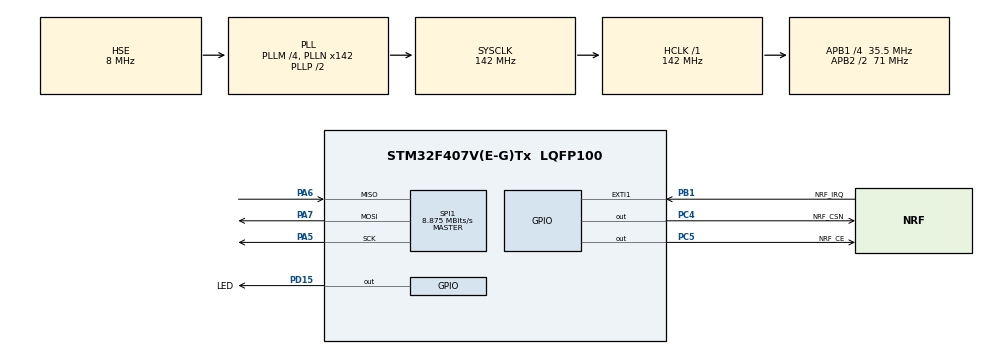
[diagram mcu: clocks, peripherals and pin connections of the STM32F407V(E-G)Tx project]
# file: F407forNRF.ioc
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Mcu.Family=STM32F4
Mcu.Name=STM32F407V(E-G)Tx
Mcu.Package=LQFP100
NVIC.EXTI1_IRQn=true\:0\:0\:false\:false\:true\:true\:true
NVIC.PriorityGroup=NVIC_PRIORITYGROUP_0
PA13.GPIO_Label=SWDIO
PA13.Mode=Serial_Wire
PA13.Signal=SYS_JTMS-SWDIO
PA14.GPIO_Label=SWCLK
PA14.Mode=Serial_Wire
PA14.Signal=SYS_JTCK-SWCLK
PA5.Mode=Full_Duplex_Master
PA5.Signal=SPI1_SCK
PA6.Mode=Full_Duplex_Master
PA6.Signal=SPI1_MISO
PA7.Mode=Full_Duplex_Master
PA7.Signal=SPI1_MOSI
PB1.GPIO_Label=NRF_IRQ
PB1.GPIO_ModeDefaultEXTI=GPIO_MODE_IT_FALLING
PB1.GPIO_PuPd=GPIO_PULLUP
PB1.Signal=GPXTI1
PC4.GPIO_Label=NRF_CSN
PC4.Signal=GPIO_Output
PC5.GPIO_Label=NRF_CE
PC5.Signal=GPIO_Output
PD15.GPIO_Label=LED
PD15.Signal=GPIO_Output
PH0-OSC_IN.GPIO_Label=PH0-OSC_IN
PH0-OSC_IN.Mode=HSE-External-Oscillator
PH0-OSC_IN.Signal=RCC_OSC_IN
PH1-OSC_OUT.GPIO_Label=PH1-OSC_OUT
PH1-OSC_OUT.Mode=HSE-External-Oscillator
PH1-OSC_OUT.Signal=RCC_OSC_OUT
ProjectManager.HeapSize=0x200
ProjectManager.StackSize=0x400
ProjectManager.TargetToolchain=STM32CubeIDE
RCC.48MHZClocksFreq_Value=40571428.571428575
RCC.AHBFreq_Value=142000000
RCC.APB1CLKDivider=RCC_HCLK_DIV4
RCC.APB1Freq_Value=35500000
RCC.APB1TimFreq_Value=71000000
RCC.APB2CLKDivider=RCC_HCLK_DIV2
RCC.APB2Freq_Value=71000000
RCC.APB2TimFreq_Value=142000000
RCC.CortexFreq_Value=142000000
RCC.HCLKFreq_Value=142000000
RCC.HSE_VALUE=8000000
RCC.HSI_VALUE=16000000
RCC.LSE_VALUE=32768
RCC.PLLM=4
RCC.PLLN=142
RCC.PLLQ=7
RCC.PLLSourceVirtual=RCC_PLLSOURCE_HSE
RCC.SYSCLKFreq_VALUE=142000000
RCC.SYSCLKSource=RCC_SYSCLKSOURCE_PLLCLK
RCC.VCOOutputFreq_Value=284000000
SPI1.BaudRatePrescaler=SPI_BAUDRATEPRESCALER_8
SPI1.CalculateBaudRate=8.875 MBits/s
SPI1.Direction=SPI_DIRECTION_2LINES
SPI1.Mode=SPI_MODE_MASTER
SPI1.VirtualType=VM_MASTER
board=STM32F407G-DISC1

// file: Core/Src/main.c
/* USER CODE BEGIN Header */
/**
  ******************************************************************************
  * @file           : main.c
  * @brief          : Main program body
  ******************************************************************************
  * @attention
  *
  * <h2><center>&copy; Copyright (c) 2022 STMicroelectronics.
  * All rights reserved.</center></h2>
  *
  * This software component is licensed by ST under Ultimate Liberty license
  * SLA0044, the "License"; You may not use this file except in compliance with
  * the License. You may obtain a copy of the License at:
  *                             www.st.com/SLA0044
  *
  ******************************************************************************
  */
/* USER CODE END Header */
#include "main.h"

/* USER CODE BEGIN Includes */
#include "string.h"
#include "AESK_NRF24.h"
#include "AESK_Data_Pack_lib.h"
#include "FlightDatas.h"
/* USER CODE END Includes */

/* USER CODE BEGIN PD */
  bool onReceiveFlag = true;

  float yaw;
  float roll;
  float pitch;
  float altitude;
  uint16_t motor1;
  uint16_t motor2;
  uint16_t motor3;
  uint16_t motor4;
  float yawError;
  float rollError;
  float pitchError;
  float altitudeError;
  float latitude_f32;
  float longtitude_f32;

  uint64_t thisNode = 0x11223344AA;
  uint64_t node = 0x11223344BB;

  uint16_t indexTx;

  uint16_t counter = 0;
/* USER CODE END PD */

SPI_HandleTypeDef hspi1;

void SystemClock_Config(void);
static void MX_GPIO_Init(void);
static void MX_SPI1_Init(void);
/* USER CODE BEGIN PFP */
void onReceive(uint8_t * pack, uint16_t len);
void parseBuffer(uint8_t * buffer);
/* USER CODE END PFP */

int main(void)
{

  /* MCU Configuration--------------------------------------------------------*/

  /* Reset of all peripherals, Initializes the Flash interface and the Systick. */
  HAL_Init();

  /* Configure the system clock */
  SystemClock_Config();

  /* Initialize all configured peripherals */
  MX_GPIO_Init();
  MX_SPI1_Init();
  /* USER CODE BEGIN 2 */

  AESK_NRF24_DATA_Init(48, thisNode, &onReceive);
  AESK_NRF24_Init(&hspi1, NRF_CSN_GPIO_Port, NRF_CSN_Pin, NRF_CE_Pin);

  /* USER CODE END 2 */

  /* Infinite loop */
  while (1)
  {

    /* USER CODE BEGIN 3 */

	  if(tt.time_task_t.task_20_Hz == 1 && onReceiveFlag == 1)
	  {
		  counter += 2;
		  indexTx = 2;

		  yaw = counter*255/500;
		  roll = counter*180/500;
		  pitch = counter*180/500;
		  altitude = counter;
		  motor1 = 1000 + counter*700/500;
		  motor2 = 1000 + counter*700/500;
		  motor3 = 1000 + counter*700/500;
		  motor4 = 1000 + counter*700/500;
		  yawError = yaw - 55;
		  rollError = roll - 45;
		  pitchError = pitch - 45;
		  altitudeError = altitude - 3;
		  latitude_f32 = 41.02539 - counter*0.0001;
		  longtitude_f32 = 28.88818 - counter*0.0001;

		  AESK_FLOAT32toUINT8_LE(&yaw,aesk_nrf24_data.TxBuffer,&indexTx);
		  AESK_FLOAT32toUINT8_LE(&roll,aesk_nrf24_data.TxBuffer,&indexTx);
		  AESK_FLOAT32toUINT8_LE(&pitch,aesk_nrf24_data.TxBuffer,&indexTx);
		  AESK_FLOAT32toUINT8_LE(&altitude, aesk_nrf24_data.TxBuffer,&indexTx);

		  AESK_UINT16toUINT8_LE(&motor1,aesk_nrf24_data.TxBuffer ,&indexTx);
		  AESK_UINT16toUINT8_LE(&motor2,aesk_nrf24_data.TxBuffer ,&indexTx);
		  AESK_UINT16toUINT8_LE(&motor3,aesk_nrf24_data.TxBuffer ,&indexTx);
		  AESK_UINT16toUINT8_LE(&motor4,aesk_nrf24_data.TxBuffer ,&indexTx);

		  AESK_FLOAT32toUINT8_LE(&yawError,aesk_nrf24_data.TxBuffer ,&indexTx);
		  AESK_FLOAT32toUINT8_LE(&rollError,aesk_nrf24_data.TxBuffer ,&indexTx);
		  AESK_FLOAT32toUINT8_LE(&pitchError,aesk_nrf24_data.TxBuffer ,&indexTx);
		  AESK_FLOAT32toUINT8_LE(&altitudeError,aesk_nrf24_data.TxBuffer ,&indexTx);

		  AESK_FLOAT32toUINT8_LE(&latitude_f32,aesk_nrf24_data.TxBuffer ,&indexTx);
		  AESK_FLOAT32toUINT8_LE(&longtitude_f32,aesk_nrf24_data.TxBuffer ,&indexTx);

		  AESK_UINT16toUINT8_LE(&aesk_Rx_Datas_Int.adc1,aesk_nrf24_data.TxBuffer,&indexTx);
		  AESK_UINT16toUINT8_LE(&aesk_Rx_Datas_Int.adc2,aesk_nrf24_data.TxBuffer,&indexTx);
		  AESK_UINT16toUINT8_LE(&aesk_Rx_Datas_Int.adc3,aesk_nrf24_data.TxBuffer,&indexTx);
		  AESK_UINT16toUINT8_LE(&aesk_Rx_Datas_Int.adc3,aesk_nrf24_data.TxBuffer,&indexTx);
		  AESK_UINT16toUINT8_LE(&aesk_Rx_Datas_Int.adc4,aesk_nrf24_data.TxBuffer,&indexTx);
		  AESK_UINT16toUINT8_LE(&aesk_Rx_Datas_Int.adc5,aesk_nrf24_data.TxBuffer,&indexTx);
		  AESK_UINT16toUINT8_LE(&aesk_Rx_Datas_Int.adc6,aesk_nrf24_data.TxBuffer,&indexTx);
		  AESK_UINT16toUINT8_LE(&aesk_Rx_Datas_Int.adc7,aesk_nrf24_data.TxBuffer,&indexTx);
		  AESK_UINT16toUINT8_LE(&aesk_Rx_Datas_Int.adc8,aesk_nrf24_data.TxBuffer,&indexTx);
		  AESK_UINT16toUINT8_LE(&aesk_Rx_Datas_Int.adc9,aesk_nrf24_data.TxBuffer,&indexTx);
		  AESK_UINT16toUINT8_LE(&aesk_Rx_Datas_Int.adc10,aesk_nrf24_data.TxBuffer,&indexTx);

		  aesk_nrf24_data.TxBuffer[0] = 'A';
		  aesk_nrf24_data.TxBuffer[1] = indexTx;

		  AESK_NRF24_WritePack(aesk_nrf24_data.TxBuffer, indexTx, node);

		  if(counter == 500)
			  counter = 0;

		  tt.time_task_t.task_20_Hz = 0;
	  }
  }
  /* USER CODE END 3 */
}

void SystemClock_Config(void)
{
  RCC_OscInitTypeDef RCC_OscInitStruct = {0};
  RCC_ClkInitTypeDef RCC_ClkInitStruct = {0};

  /** Configure the main internal regulator output voltage
  */
  __HAL_RCC_PWR_CLK_ENABLE();
  __HAL_PWR_VOLTAGESCALING_CONFIG(PWR_REGULATOR_VOLTAGE_SCALE1);
  /** Initializes the RCC Oscillators according to the specified parameters
  * in the RCC_OscInitTypeDef structure.
  */
  RCC_OscInitStruct.OscillatorType = RCC_OSCILLATORTYPE_HSE;
  RCC_OscInitStruct.HSEState = RCC_HSE_ON;
  RCC_OscInitStruct.PLL.PLLState = RCC_PLL_ON;
  RCC_OscInitStruct.PLL.PLLSource = RCC_PLLSOURCE_HSE;
  RCC_OscInitStruct.PLL.PLLM = 4;
  RCC_OscInitStruct.PLL.PLLN = 142;
  RCC_OscInitStruct.PLL.PLLP = RCC_PLLP_DIV2;
  RCC_OscInitStruct.PLL.PLLQ = 7;
  if (HAL_RCC_OscConfig(&RCC_OscInitStruct) != HAL_OK)
  {
    Error_Handler();
  }
  /** Initializes the CPU, AHB and APB buses clocks
  */
  RCC_ClkInitStruct.ClockType = RCC_CLOCKTYPE_HCLK|RCC_CLOCKTYPE_SYSCLK
                              |RCC_CLOCKTYPE_PCLK1|RCC_CLOCKTYPE_PCLK2;
  RCC_ClkInitStruct.SYSCLKSource = RCC_SYSCLKSOURCE_PLLCLK;
  RCC_ClkInitStruct.AHBCLKDivider = RCC_SYSCLK_DIV1;
  RCC_ClkInitStruct.APB1CLKDivider = RCC_HCLK_DIV4;
  RCC_ClkInitStruct.APB2CLKDivider = RCC_HCLK_DIV2;

  if (HAL_RCC_ClockConfig(&RCC_ClkInitStruct, FLASH_LATENCY_4) != HAL_OK)
  {
    Error_Handler();
  }
}

static void MX_SPI1_Init(void)
{

  /* SPI1 parameter configuration*/
  hspi1.Instance = SPI1;
  hspi1.Init.Mode = SPI_MODE_MASTER;
  hspi1.Init.Direction = SPI_DIRECTION_2LINES;
  hspi1.Init.DataSize = SPI_DATASIZE_8BIT;
  hspi1.Init.CLKPolarity = SPI_POLARITY_LOW;
  hspi1.Init.CLKPhase = SPI_PHASE_1EDGE;
  hspi1.Init.NSS = SPI_NSS_SOFT;
  hspi1.Init.BaudRatePrescaler = SPI_BAUDRATEPRESCALER_8;
  hspi1.Init.FirstBit = SPI_FIRSTBIT_MSB;
  hspi1.Init.TIMode = SPI_TIMODE_DISABLE;
  hspi1.Init.CRCCalculation = SPI_CRCCALCULATION_DISABLE;
  hspi1.Init.CRCPolynomial = 10;
  if (HAL_SPI_Init(&hspi1) != HAL_OK)
  {
    Error_Handler();
  }

}

static void MX_GPIO_Init(void)
{
  GPIO_InitTypeDef GPIO_InitStruct = {0};

  /* GPIO Ports Clock Enable */
  __HAL_RCC_GPIOH_CLK_ENABLE();
  __HAL_RCC_GPIOA_CLK_ENABLE();
  __HAL_RCC_GPIOC_CLK_ENABLE();
  __HAL_RCC_GPIOB_CLK_ENABLE();
  __HAL_RCC_GPIOD_CLK_ENABLE();

  /*Configure GPIO pin Output Level */
  HAL_GPIO_WritePin(GPIOC, NRF_CSN_Pin|NRF_CE_Pin, GPIO_PIN_RESET);

  /*Configure GPIO pin Output Level */
  HAL_GPIO_WritePin(LED_GPIO_Port, LED_Pin, GPIO_PIN_RESET);

  /*Configure GPIO pins : NRF_CSN_Pin NRF_CE_Pin */
  GPIO_InitStruct.Pin = NRF_CSN_Pin|NRF_CE_Pin;
  GPIO_InitStruct.Mode = GPIO_MODE_OUTPUT_PP;
  GPIO_InitStruct.Pull = GPIO_NOPULL;
  GPIO_InitStruct.Speed = GPIO_SPEED_FREQ_LOW;
  HAL_GPIO_Init(GPIOC, &GPIO_InitStruct);

  /*Configure GPIO pin : NRF_IRQ_Pin */
  GPIO_InitStruct.Pin = NRF_IRQ_Pin;
  GPIO_InitStruct.Mode = GPIO_MODE_IT_FALLING;
  GPIO_InitStruct.Pull = GPIO_PULLUP;
  HAL_GPIO_Init(NRF_IRQ_GPIO_Port, &GPIO_InitStruct);

  /*Configure GPIO pin : LED_Pin */
  GPIO_InitStruct.Pin = LED_Pin;
  GPIO_InitStruct.Mode = GPIO_MODE_OUTPUT_PP;
  GPIO_InitStruct.Pull = GPIO_NOPULL;
  GPIO_InitStruct.Speed = GPIO_SPEED_FREQ_LOW;
  HAL_GPIO_Init(LED_GPIO_Port, &GPIO_InitStruct);

  /* EXTI interrupt init*/
  HAL_NVIC_SetPriority(EXTI1_IRQn, 0, 0);
  HAL_NVIC_EnableIRQ(EXTI1_IRQn);

}

/* USER CODE BEGIN 4 */

void HAL_GPIO_EXTI_Callback(uint16_t GPIO_Pin)
{
	onReceiveFlag = 0;

	AESK_NRF24_ReadPack();

	onReceiveFlag = 1;
}
void onReceive(uint8_t * pack, uint16_t len)
{
	if(*pack != 'T')
		AESK_NRF24_WritePack(pack, len, node);

	parseBuffer(pack);

	onReceiveFlag = 1;
}

void parseBuffer(uint8_t * buffer)
{
	uint16_t index = 2;

	if(aesk_nrf24_data.RxBuffer[0] == 'P')
	{
		AESK_UINT8toUINT24_LE(&aesk_Rx_Datas_Int.RollPitchKp,buffer,&index);
		AESK_UINT8toUINT24_LE(&aesk_Rx_Datas_Int.RollPitchKi,buffer,&index);
		AESK_UINT8toUINT24_LE(&aesk_Rx_Datas_Int.RollPitchKd,buffer,&index);

		AESK_UINT8toUINT24_LE(&aesk_Rx_Datas_Int.YawKp,buffer,&index);
		AESK_UINT8toUINT24_LE(&aesk_Rx_Datas_Int.YawKi,buffer,&index);
		AESK_UINT8toUINT24_LE(&aesk_Rx_Datas_Int.YawKd,buffer,&index);

		AESK_UINT8toUINT24_LE(&aesk_Rx_Datas_Int.AltitudeKp,buffer,&index);
		AESK_UINT8toUINT24_LE(&aesk_Rx_Datas_Int.AltitudeKi,buffer,&index);
		AESK_UINT8toUINT24_LE(&aesk_Rx_Datas_Int.AltitudeKd,buffer,&index);

		AESK_UINT8toUINT24_LE(&aesk_Rx_Datas_Int.GpsKp,buffer,&index);
		AESK_UINT8toUINT24_LE(&aesk_Rx_Datas_Int.GpsKi,buffer,&index);
		AESK_UINT8toUINT24_LE(&aesk_Rx_Datas_Int.GpsKd,buffer,&index);

		AESK_UINT8toUINT24_LE(&aesk_Rx_Datas_Int.Ext1Kp,buffer,&index);
		AESK_UINT8toUINT24_LE(&aesk_Rx_Datas_Int.Ext1Ki,buffer,&index);
		AESK_UINT8toUINT24_LE(&aesk_Rx_Datas_Int.Ext1Kd,buffer,&index);

		AESK_UINT8toUINT24_LE(&aesk_Rx_Datas_Int.Ext2Kp,buffer,&index);
		AESK_UINT8toUINT24_LE(&aesk_Rx_Datas_Int.Ext2Ki,buffer,&index);
		AESK_UINT8toUINT24_LE(&aesk_Rx_Datas_Int.Ext2Kd,buffer,&index);

		aesk_Rx_Datas_Float.floatRollPitchKp = (float)aesk_Rx_Datas_Int.RollPitchKp/100000;
		aesk_Rx_Datas_Float.floatRollPitchKi = (float)aesk_Rx_Datas_Int.RollPitchKi/100000;
		aesk_Rx_Datas_Float.floatRollPitchKd = (float)aesk_Rx_Datas_Int.RollPitchKd/100000;

		aesk_Rx_Datas_Float.floatYawKp = (float)aesk_Rx_Datas_Int.YawKp/100000;
		aesk_Rx_Datas_Float.floatYawKi = (float)aesk_Rx_Datas_Int.YawKi/100000;
		aesk_Rx_Datas_Float.floatYawKd = (float)aesk_Rx_Datas_Int.YawKd/100000;

		aesk_Rx_Datas_Float.floatAltitudeKp = (float)aesk_Rx_Datas_Int.AltitudeKp/100000;
		aesk_Rx_Datas_Float.floatAltitudeKi = (float)aesk_Rx_Datas_Int.AltitudeKi/100000;
		aesk_Rx_Datas_Float.floatAltitudeKd = (float)aesk_Rx_Datas_Int.AltitudeKd/100000;

		aesk_Rx_Datas_Float.floatGpsKp = (float)aesk_Rx_Datas_Int.GpsKp/100000;
		aesk_Rx_Datas_Float.floatGpsKi = (float)aesk_Rx_Datas_Int.GpsKi/100000;
		aesk_Rx_Datas_Float.floatGpsKd = (float)aesk_Rx_Datas_Int.GpsKd/100000;

		aesk_Rx_Datas_Float.floatExt1Kp = (float)aesk_Rx_Datas_Int.Ext1Kp/100000;
		aesk_Rx_Datas_Float.floatExt1Ki = (float)aesk_Rx_Datas_Int.Ext1Ki/100000;
		aesk_Rx_Datas_Float.floatExt1Kd = (float)aesk_Rx_Datas_Int.Ext1Kd/100000;

		aesk_Rx_Datas_Float.floatExt2Kp = (float)aesk_Rx_Datas_Int.Ext2Kp/100000;
		aesk_Rx_Datas_Float.floatExt2Ki = (float)aesk_Rx_Datas_Int.Ext2Ki/100000;
		aesk_Rx_Datas_Float.floatExt2Kd = (float)aesk_Rx_Datas_Int.Ext2Kd/100000;
	}
	else if(aesk_nrf24_data.RxBuffer[0] == 'T')
	{
		AESK_UINT8toUINT16_LE(&aesk_Rx_Datas_Int.adc1,buffer,&index);
		AESK_UINT8toUINT16_LE(&aesk_Rx_Datas_Int.adc2,buffer,&index);
		AESK_UINT8toUINT16_LE(&aesk_Rx_Datas_Int.adc3,buffer,&index);
		AESK_UINT8toUINT16_LE(&aesk_Rx_Datas_Int.adc4,buffer,&index);
		AESK_UINT8toUINT16_LE(&aesk_Rx_Datas_Int.adc5,buffer,&index);
		AESK_UINT8toUINT16_LE(&aesk_Rx_Datas_Int.adc6,buffer,&index);
		AESK_UINT8toUINT16_LE(&aesk_Rx_Datas_Int.adc7,buffer,&index);
		AESK_UINT8toUINT16_LE(&aesk_Rx_Datas_Int.adc8,buffer,&index);
		AESK_UINT8toUINT16_LE(&aesk_Rx_Datas_Int.adc9,buffer,&index);
		AESK_UINT8toUINT16_LE(&aesk_Rx_Datas_Int.adc10,buffer,&index);
	}

}
/* USER CODE END 4 */

void Error_Handler(void)
{
  __disable_irq();
  while (1)
  {
  }
}
